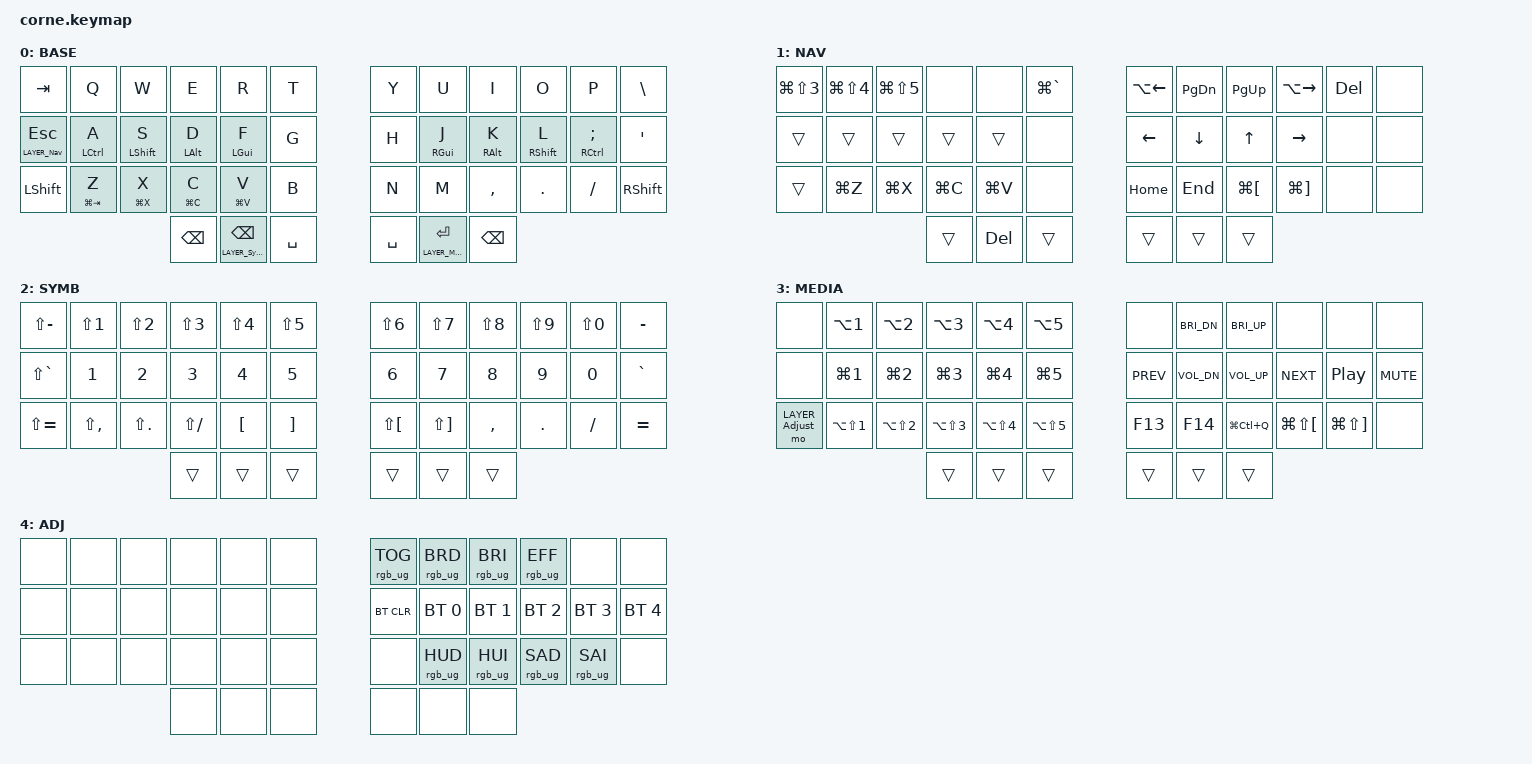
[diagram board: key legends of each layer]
#include <behaviors.dtsi>
#include <dt-bindings/zmk/keys.h>
#include <dt-bindings/zmk/bt.h>
#include <dt-bindings/zmk/outputs.h>
#include <dt-bindings/zmk/rgb.h>

#define LAYER_Base   0
#define LAYER_Nav    1
#define LAYER_Symb   2
#define LAYER_Media  3
#define LAYER_Adjust 4

/* Corne stock shield defaults to 10 LEDs/side; full per-key + underglow is 27/side
 * (21 under keys + 6 underglow). Without this, only the first 10 LEDs light. */
&led_strip {
    chain-length = <27>;
};

/ {
    behaviors {
        hrm_l: hrm_l {
            compatible = "zmk,behavior-hold-tap";
            #binding-cells = <2>;
            tapping-term-ms = <300>;
            bindings = <&kp>, <&kp>;
            flavor = "tap-preferred";
            quick-tap-ms = <300>;
            require-prior-idle-ms = <0>;
        };

        hrm_r: hrm_r {
            compatible = "zmk,behavior-hold-tap";
            #binding-cells = <2>;
            tapping-term-ms = <300>;
            bindings = <&kp>, <&kp>;
            flavor = "tap-preferred";
            quick-tap-ms = <300>;
            require-prior-idle-ms = <0>;
        };

        my_mt: my_mt {
            compatible = "zmk,behavior-hold-tap";
            #binding-cells = <2>;
            flavor = "tap-preferred";
            tapping-term-ms = <300>;
            bindings = <&kp>, <&kp>;
        };
    };

    combos {
        compatible = "zmk,combos";

        combo_esc {
            timeout-ms = <50>;
            key-positions = <19 20>;
            bindings = <&kp ESC>;
        };

        combo_caps_word {
            timeout-ms = <50>;
            key-positions = <24 35>;
            bindings = <&caps_word>;
        };
    };
};

/ {

    keymap {
        compatible = "zmk,keymap";

        layer_Base {
            display-name = "BASE";
            bindings = <
  &kp TAB              &kp Q              &kp W              &kp E            &kp R            &kp T                                    &kp Y        &kp U            &kp I           &kp O            &kp P               &kp BSLH
  &lt LAYER_Nav ESC    &hrm_l LCTRL A     &hrm_l LSHFT S     &hrm_l LALT D    &hrm_l LGUI F    &kp G                                    &kp H        &hrm_r RGUI J    &hrm_r RALT K   &hrm_r RSHFT L   &hrm_r RCTRL SEMI   &kp SQT
  &kp LSHFT            &my_mt LG(TAB) Z   &my_mt LG(X) X     &my_mt LG(C) C   &my_mt LG(V) V   &kp B                                    &kp N        &kp M            &kp COMMA       &kp DOT          &kp FSLH            &kp RSHFT
                                                                               &kp BSPC         &lt LAYER_Symb BSPC   &kp SPACE  &kp SPACE  &lt LAYER_Media RET   &kp BSPC
            >;
        };

        layer_Nav {
            display-name = "NAV";
            bindings = <
  &kp LG(LS(N3))   &kp LG(LS(N4))   &kp LG(LS(N5))   &none      &none      &kp LG(GRAVE)                        &kp LA(LEFT)   &kp PG_DN      &kp PG_UP      &kp LA(RIGHT)   &kp DEL   &none
  &trans            &trans            &trans            &trans     &trans     &none                                &kp LEFT       &kp DOWN       &kp UP         &kp RIGHT       &none     &none
  &trans            &kp LG(Z)         &kp LG(X)         &kp LG(C)  &kp LG(V)  &none                                &kp HOME       &kp END        &kp LG(LBKT)   &kp LG(RBKT)    &none     &none
                                                                   &trans     &kp DEL          &trans     &trans   &trans         &trans
            >;
        };

        layer_Symb {
            display-name = "SYMB";
            bindings = <
  &kp LS(MINUS)   &kp LS(N1)      &kp LS(N2)    &kp LS(N3)     &kp LS(N4)   &kp LS(N5)                           &kp LS(N6)     &kp LS(N7)     &kp LS(N8)   &kp LS(N9)   &kp LS(N0)   &kp MINUS
  &kp LS(GRAVE)   &kp N1          &kp N2        &kp N3         &kp N4       &kp N5                               &kp N6         &kp N7         &kp N8       &kp N9       &kp N0       &kp GRAVE
  &kp LS(EQUAL)   &kp LS(COMMA)   &kp LS(DOT)   &kp LS(FSLH)   &kp LBKT     &kp RBKT                             &kp LS(LBKT)   &kp LS(RBKT)   &kp COMMA    &kp DOT      &kp FSLH     &kp EQUAL
                                                                &trans       &trans         &trans       &trans   &trans         &trans
            >;
        };

        layer_Media {
            display-name = "MEDIA";
            bindings = <
  &none              &kp LA(N1)       &kp LA(N2)       &kp LA(N3)       &kp LA(N4)       &kp LA(N5)                             &none        &kp C_BRI_DN     &kp C_BRI_UP   &none                &none                &none
  &none              &kp LG(N1)       &kp LG(N2)       &kp LG(N3)       &kp LG(N4)       &kp LG(N5)                             &kp C_PREV   &kp K_VOL_DN     &kp K_VOL_UP   &kp C_NEXT           &kp C_PP             &kp C_MUTE
  &mo LAYER_Adjust   &kp LA(LS(N1))   &kp LA(LS(N2))   &kp LA(LS(N3))   &kp LA(LS(N4))   &kp LA(LS(N5))                         &kp F13      &kp F14          &kp LG(LC(Q))  &kp LG(LS(LBKT))     &kp LG(LS(RBKT))     &none
                                                                        &trans           &trans             &trans     &trans   &trans       &trans
            >;
        };

        layer_Adjust {
            display-name = "ADJ";
            bindings = <
  &none   &none   &none   &none   &none   &none                         &rgb_ug RGB_TOG   &rgb_ug RGB_BRD   &rgb_ug RGB_BRI   &rgb_ug RGB_EFF   &none          &none
  &none   &none   &none   &none   &none   &none                         &bt BT_CLR        &bt BT_SEL 0      &bt BT_SEL 1      &bt BT_SEL 2      &bt BT_SEL 3   &bt BT_SEL 4
  &none   &none   &none   &none   &none   &none                         &none             &rgb_ug RGB_HUD   &rgb_ug RGB_HUI   &rgb_ug RGB_SAD   &rgb_ug RGB_SAI  &none
                                  &none   &none    &none       &none    &none             &none
            >;
        };

    };
};
